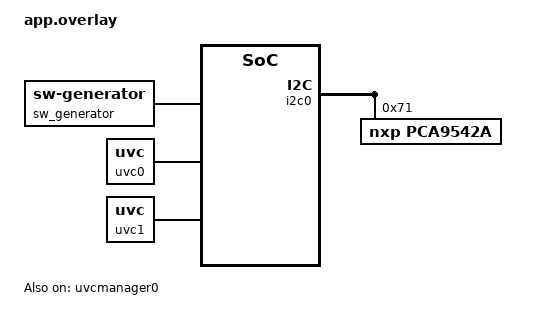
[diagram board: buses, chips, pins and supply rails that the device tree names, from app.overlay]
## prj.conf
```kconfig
CONFIG_ASSERT=y

# SHELL
CONFIG_SHELL=y
CONFIG_I2C_SHELL=y
CONFIG_KERNEL_SHELL=y
CONFIG_SHELL_BACKEND_SERIAL_CHECK_DTR=y

# LOG
CONFIG_LOG=y
CONFIG_LOG_MODE_MINIMAL=y
CONFIG_UDC_DRIVER_LOG_LEVEL_WRN=y
CONFIG_USBD_LOG_LEVEL_WRN=y
CONFIG_USBD_UVC_LOG_LEVEL_WRN=y
CONFIG_VIDEO_LOG_LEVEL_DBG=y
CONFIG_USBD_CDC_ACM_LOG_LEVEL_INF=y

# USB
CONFIG_USBD_VIDEO_CLASS=y
CONFIG_USBD_VIDEO_HEADER_SIZE=8
CONFIG_USBD_CDC_ACM_CLASS=y

# VIDEO
CONFIG_VIDEO=y
CONFIG_VIDEO_IMX219=y
CONFIG_VIDEO_UVCMANAGER=y
CONFIG_VIDEO_SW_GENERATOR=y
CONFIG_VIDEO_BUFFER_POOL_SZ_MAX=2560
CONFIG_VIDEO_BUFFER_POOL_NUM_MAX=1

# I2C
CONFIG_I2C_PCA9542A_ROOT_INIT_PRIO=1
CONFIG_I2C_PCA9542A_CHANNEL_INIT_PRIO=2
CONFIG_I2C_PCA9542A_IGNORE_FAILURE=y
```

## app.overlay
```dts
#include <zephyr/dt-bindings/usb/video.h>

/ {
	sw_generator: sw_generator {
		compatible = "zephyr,sw-generator";
		status = "okay";
	};

	chosen {
		zephyr,shell-uart = &cdc0;
	};
};

/* This builds a complete chain through "source = <&...>;":
 * - USB Video Class (UVC), exposing the controls to the host and communicating with it.
 * - UVC Manager, controlled by the UVC class protocol, doing I/O between the sensor and USB.
 * - IMX219 sensor, with configuration coming from the UVC Manager and the host before it.
 */

&zephyr_udc0 {

	endpoints {

		/* For UVC0 */
		ep@81 {
			reg = <0x81>;
			num-trbs = <4>;
			uvcmanager = <&uvcmanager0>;
		};

		/* For UVC1 */
		ep@82 {
			reg = <0x82>;
			num-trbs = <4>;
		};

		/* For CDC0 */
		ep@1 {
			reg = <0x01>;
			num-trbs = <4>;
		};
		ep@83 {
			reg = <0x83>;
			num-trbs = <4>;
		};
		ep@84 {
			reg = <0x84>;
			num-trbs = <4>;
		};
	};

	uvc0: zephyr_uvc0 {
		compatible = "zephyr,uvc";

		/* This builds a control chain to explain the organization
		 * of the video system to the host, changing the topology
		 * here will not affect how the device works.
		 */

		uvc0_ct: camera_terminal {
			compatible = "zephyr,uvc-control-ct";
			control-ae-mode;
			control-exposure-time-absolute;
			control-target = <&imx219>;
		};

		uvc0_pu: processing_unit {
			compatible = "zephyr,uvc-control-pu";
			control-gain;
			control-target = <&imx219>;
			source-entity = <&uvc0_ct>;
		};

		uvc0_ot: output_terminal {
			compatible = "zephyr,uvc-control-ot";
			/* Receives .stream_start() and .set_format() */
			control-target = <&uvcmanager0>;
			source-entity = <&uvc0_pu>;
		};

		format-uncompressed {
			compatible = "zephyr,uvc-format-uncompressed";
			fourcc = "YUYV";
			guid = [UVC_GUID_YUY2];
			bits-per-pixel = <16>;

			/* Lists of formats presented to the host */

			FHD {
				/* There are 2 rows and columns less as required to do debayer. */
				size = <1918 1078>;
				max-fps = <30>;
			};
		};
	};

	uvc1: zephyr_uvc1 {
		compatible = "zephyr,uvc";

		uvc1_it: input_terminal {
			compatible = "zephyr,uvc-control-it";
		};

		uvc1_pu: processing_unit {
			compatible = "zephyr,uvc-control-pu";
			control-hue;
			control-saturation;
			control-brightness;
			control-target = <&sw_generator>;
			source-entity = <&uvc1_it>;
		};

		uvc1_ot: output_terminal {
			compatible = "zephyr,uvc-control-ot";
			/* Receives .stream_start() and .set_format() */
			control-target = <&sw_generator>;
			source-entity = <&uvc1_pu>;
		};

		/* This lists the formats supported by the video device which
		 * can be selected by the host at runtime.
		 */

		format-uncompressed {
			compatible = "zephyr,uvc-format-uncompressed";
			fourcc = "YUYV";
			guid = [UVC_GUID_YUY2];
			bits-per-pixel = <16>;

			rectangle {
				/* There are 2 rows and columns less as required to do debayer. */
				size = <124 10>;
				max-fps = <10>;
			};
		};
	};

	cdc0: zephyr_cdc0 {
		compatible = "zephyr,cdc-acm-uart";
		status = "okay";
	};
};

&uvcmanager0 {
	source = <&imx219>;
	fourcc = "BA81";
	/* The 2 pixels are required for dong the debayer */
	size-adjust = <2 2>;
	status = "okay";
};

&i2c0 {
	pca9542a@71 {
		compatible = "nxp,pca9542a";
		reg = <0x71>;
		#address-cells = <1>;
		#size-cells = <0>;
 
		ch@0 {
			compatible = "nxp,pca9542a-channel";
			reg = <0>;
			#address-cells = <1>;
			#size-cells = <0>;
 
			imx219: imx219@10 {
				compatible = "sony,imx219";
				reg = <0x10>;
			};
		};
	};
};
```

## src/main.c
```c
#include <zephyr/kernel.h>
#include <zephyr/devicetree.h>
#include <zephyr/drivers/video.h>
#include <zephyr/logging/log.h>

LOG_MODULE_REGISTER(app, LOG_LEVEL_INF);

static const struct device *uvc0_dev = DEVICE_DT_GET(DT_NODELABEL(uvc0));
static const struct device *uvc1_dev = DEVICE_DT_GET(DT_NODELABEL(uvc1));
static const struct device *sw_dev = DEVICE_DT_GET(DT_NODELABEL(sw_generator));

int uvc0_enqueue_first_frame(struct video_buffer *vbuf)
{
	struct video_format fmt = {0};
	int ret;

	ret = video_get_format(uvc0_dev, VIDEO_EP_IN, &fmt);
	if (ret == -EAGAIN) {
		return false;
	}
	if (ret) {
		LOG_ERR("failed to get the video format");
		return ret;
	}

	/* The buffer address is the FIFO endpoint */
	vbuf->buffer = (void *)DT_REG_ADDR_BY_NAME(DT_NODELABEL(uvcmanager0), fifo);
	vbuf->size = vbuf->bytesused = fmt.pitch * fmt.height;
	vbuf->flags = VIDEO_BUF_EOF;

	LOG_INF("frame %ux%u, %u bytes, addr %p", fmt.width, fmt.height, fmt.pitch * fmt.height, vbuf->buffer);

	/* Only the first buffer needs to be enqueued when using the UVC Manager */
	ret = video_enqueue(uvc0_dev, VIDEO_EP_IN, vbuf);
	if (ret) {
		LOG_ERR("UVC0: failed to enqueue the first frame");
		return ret;
	}
	LOG_DBG("enqueued %p to %s", vbuf, uvc0_dev->name);

	LOG_INF("UVC0 ready for I/O");

	return true;
}

int uvc1_enqueue_first_frame(void)
{
	struct video_format fmt = {0};
	struct video_buffer *vbuf;
	int ret;

	ret = video_get_format(uvc1_dev, VIDEO_EP_IN, &fmt);
	if (ret == -EAGAIN) {
		return false;
	}
	if (ret) {
		LOG_ERR("failed to get the video format");
		return ret;
	}

	LOG_INF("Allocating a video buffer of %u bytes for UVC1", fmt.pitch * fmt.height);

	/* If this gets stuck, you might need to increase CONFIG_VIDEO_BUFFER_POOL_SZ_MAX */
	vbuf = video_buffer_alloc(fmt.pitch * fmt.height);
	if (vbuf == NULL) {
		LOG_ERR("could not allocate the video buffer");
		return -ENOMEM;
	}

	for (size_t i = 0; i < vbuf->size; i++) {
		vbuf->buffer[i] ^= 0xff;
	}
	vbuf->bytesused = vbuf->size;
	vbuf->flags = VIDEO_BUF_EOF;

	ret = video_enqueue(sw_dev, VIDEO_EP_OUT, vbuf);
	if (ret != 0) {
		LOG_ERR("could not enqueue video buffer to %s", sw_dev->name);
		return ret;
	}
	LOG_DBG("enqueued %p to %s", vbuf, sw_dev->name);

	LOG_INF("UVC1 ready for I/O");

	return true;
}

void uvc1_io_thread(void *, void *, void *)
{
	struct video_buffer *vbuf;
	int ret;

	/* UVC needs the poll API implemented */
	while (true) {
		ret = video_dequeue(sw_dev, VIDEO_EP_OUT, &vbuf, K_FOREVER);
		if (ret != 0) {
			LOG_ERR("could not dequeue video buffer from %s", sw_dev->name);
			return;
		}
		LOG_DBG("dequeued %p from %s", vbuf, sw_dev->name);

		ret = video_enqueue(uvc1_dev, VIDEO_EP_IN, vbuf);
		if (ret != 0) {
			LOG_ERR("could not enqueue video buffer to %s", uvc1_dev->name);
			return;
		}
		LOG_DBG("enqueued %p to %s", vbuf, uvc1_dev->name);

		ret = video_dequeue(uvc1_dev, VIDEO_EP_IN, &vbuf, K_FOREVER);
		if (ret != 0) {
			LOG_ERR("could not dequeue video buffer from %s", uvc1_dev->name);
			return;
		}
		LOG_DBG("dequeued %p from %s", vbuf, uvc1_dev->name);

		ret = video_enqueue(sw_dev, VIDEO_EP_OUT, vbuf);
		if (ret != 0) {
			LOG_ERR("could not enqueue video buffer to %s", sw_dev->name);
			return;
		}
		LOG_DBG("enqueued %p to %s", vbuf, sw_dev->name);
	}
}

K_THREAD_DEFINE(uvc1_io, 1024, uvc1_io_thread, NULL, NULL, NULL, CONFIG_MAIN_THREAD_PRIORITY, 0, 0);

int main(void)
{
	struct video_buffer vbuf = {0};
	int ret;

	/* Get the video format once it is selected by the host */
	for (bool uvc0_ready = 0, uvc1_ready = 0; !uvc0_ready || !uvc1_ready;) {
		if (!uvc0_ready) {
			ret = uvc0_enqueue_first_frame(&vbuf);
			if (ret < 0) {
				LOG_ERR("UVC0: failed to enqueue the first frame");
				return ret;
			}
			uvc0_ready = ret;
		}

		if (!uvc1_ready) {
			ret = uvc1_enqueue_first_frame();
			if (ret < 0) {
				LOG_ERR("UVC1: failed to enqueue the first frame");
				return ret;
			}
			uvc1_ready = ret;
		}

		k_sleep(K_MSEC(10));
	}

	k_sleep(K_FOREVER);
	return 0;
}
```
